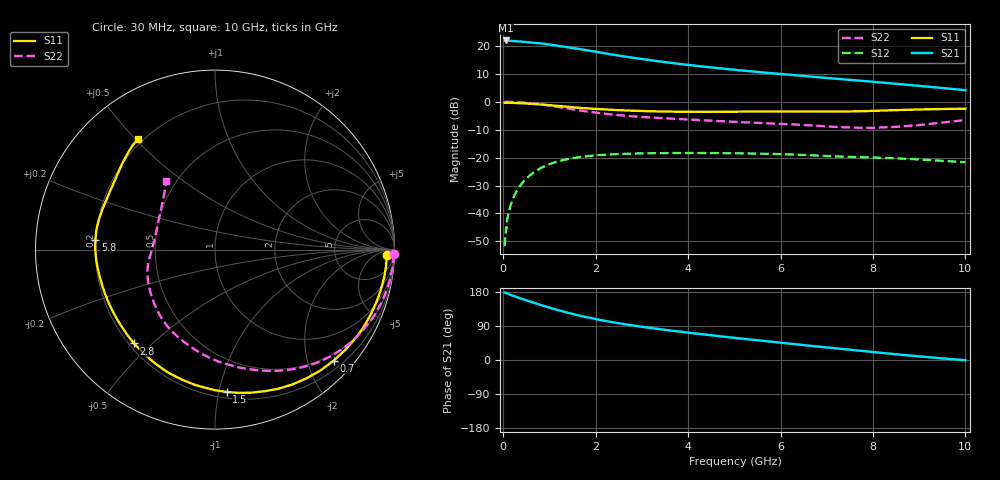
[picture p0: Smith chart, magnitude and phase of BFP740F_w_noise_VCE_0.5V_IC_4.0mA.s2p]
! Infineon Technologies  Discrete & RF Semiconductors
! BFP740F
! VCE =  0.5 V,  IC =  4.0 mA
! Common Emitter S-Parameters:  Oct 2012
# GHz  S  MA  R  50
!  f  S11  S21  S12  S22
! GHz  MAG  ANG  MAG  ANG  MAG  ANG  MAG  ANG
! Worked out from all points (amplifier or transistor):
!   99 points, 30 MHz to 10 GHz, reference 50 ohm
!   highest |S21| = 21.9 dB at 50 MHz (marker M1)
!   |S21| within 3 dB of that: start of sweep to 1.63 GHz
!   unconditionally stable (mu >= 1): 8.254 GHz to end of sweep
!   at 350 MHz: K = 0.04, MSG = 26.0 dB, |S12| = -30.4 dB
!   at 3.5 GHz: K = 0.31, MSG = 16.3 dB, |S12| = -18.4 dB
!   at 10 GHz: K = 1.22, MAG = 10.0 dB, |S12| = -21.7 dB
!   lowest NFmin = 0.36 dB at 450 MHz
!   S11 on the Smith chart (normalised r, x): 30 MHz: 29, -23; 700 MHz: 0.36, -2.49; 1.5 GHz: 0.24, -1.06; 2.8 GHz: 0.22, -0.44; 5.8 GHz: 0.20, +0.04; 10 GHz: 0.18, +0.51
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0.03  0.9587 -1.9  12.3 178.0  0.0026 92.5  0.9959 -1.5
0.05  0.9572 -3.2  12.46 177.3  0.0041 85.8  0.9962 -2.5
0.09  0.9574 -5.8  12.43 175.2  0.008 87.2  0.9966 -4.5
0.15  0.9547 -9.7  12.28 172.4  0.0132 84.7  0.9918 -7.5
0.4  0.9364 -25.3  11.89 161.5  0.0341 74.5  0.9668 -19.8
0.7  0.9059 -43.1  11.23 149.6  0.0572 63.2  0.9181 -34.0
0.9  0.8797 -54.8  10.83 141.9  0.0704 56.0  0.8741 -43.1
1.1  0.8516 -65.6  10.25 134.7  0.0814 49.2  0.8252 -51.9
1.3  0.8224 -75.7  9.679 127.9  0.0903 43.1  0.7763 -60.0
1.5  0.7959 -85.3  9.129 121.7  0.0974 37.6  0.7298 -67.6
1.7  0.7706 -94.4  8.615 115.8  0.1031 32.7  0.6889 -74.7
2.1  0.7349 -110.1  7.59 105.5  0.1114 24.0  0.623 -88.5
2.2  0.7269 -113.3  7.337 103.3  0.1125 22.0  0.6087 -91.6
2.5  0.7052 -122.6  6.684 97.0  0.1158 17.0  0.5751 -99.7
2.8  0.6903 -130.8  6.126 91.3  0.1177 12.5  0.5474 -107.0
3.4  0.6693 -144.9  5.237 81.2  0.1198 5.0  0.5099 -119.4
4.1  0.6605 -158.3  4.459 70.8  0.1209 -2.3  0.4756 -130.7
5.1  0.6641 -174.6  3.658 57.2  0.1192 -11.5  0.4325 -146.0
5.8  0.6681 175.5  3.237 48.3  0.1163 -17.3  0.4087 -156.5
6.7  0.6662 162.1  2.791 36.9  0.1097 -24.3  0.3747 -170.2
8.5  0.7065 136.7  2.092 15.1  0.097 -33.8  0.3541 152.5
10  0.7508 125.0  1.608 -0.5  0.0825 -39.9  0.4701 125.1
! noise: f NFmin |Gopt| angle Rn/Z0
0.45  0.36  0.43  8  0.21
0.9  0.42  0.43  14  0.18
1.5  0.5  0.42  25  0.15
1.9  0.56  0.41  34  0.14
2.4  0.63  0.38  43  0.14
3.5  0.79  0.35  66  0.13
5.5  1.07  0.25  111  0.22
10  1.64  0.44  -130  0.08
